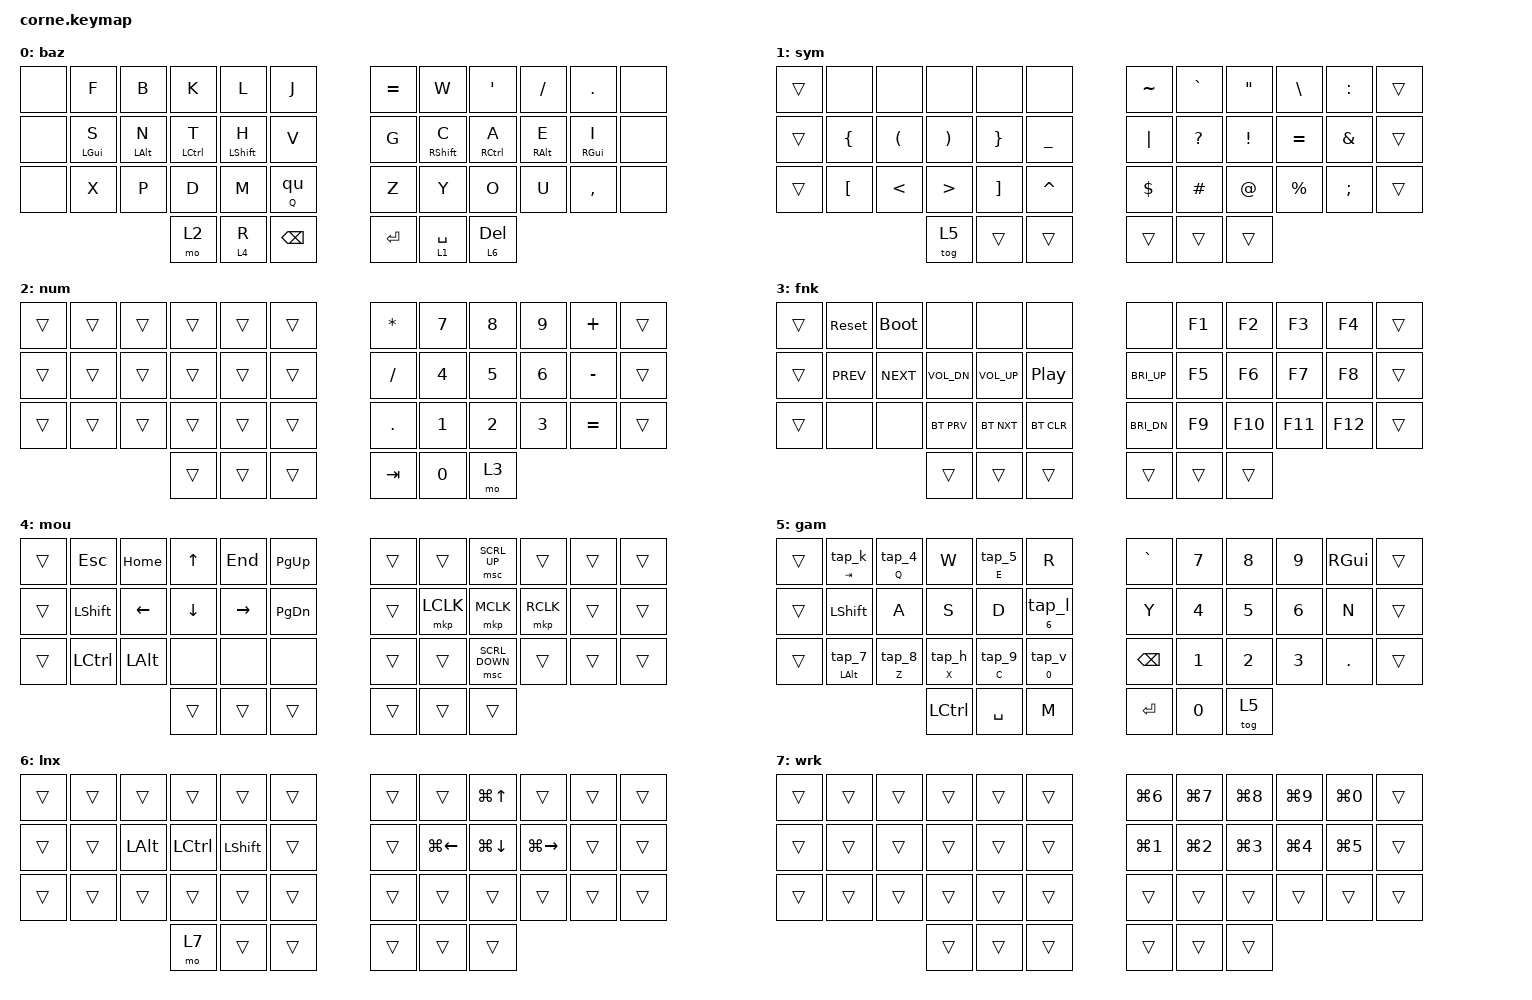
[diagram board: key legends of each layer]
/*
 * SnthX - Chocofi 3x5 Split Keyboard
 * derived from https://www.reddit.com/r/KeyboardLayouts/comments/18jefux/snth/
 */

#include <behaviors.dtsi>
#include <dt-bindings/zmk/bt.h>
#include <dt-bindings/zmk/keys.h>
#include <dt-bindings/zmk/pointing.h>

&sl { release-after-ms = <125>; };

/ {
    combos {
        compatible = "zmk,combos";

        // Global defaults

        timeout-ms = <50>;
        require-prior-idle-ms = <100>;

        tab {
            bindings = <&kp TAB>;
            key-positions = <13 14>;
            layers = <0>;
            slow-release;
            timeout-ms = <75>;
            require-prior-idle-ms = <125>;
        };

        esc {
            bindings = <&kp ESC>;
            key-positions = <13 16>;
            layers = <0>;
        };

        capsw {
            bindings = <&caps_word>;
            key-positions = <16 19>;
            layers = <0>;
            timeout-ms = <30>;
        };

        ing {
            bindings = <&ing>;
            key-positions = <22 21>;
            layers = <0>;
            slow-release;
            timeout-ms = <75>;
            require-prior-idle-ms = <125>;
        };

        the {
            bindings = <&the>;
            key-positions = <15 16>;
            layers = <0>;
            slow-release;
            timeout-ms = <75>;
            require-prior-idle-ms = <125>;
        };

        then {
            bindings = <&then>;
            key-positions = <14 16 15>;
            layers = <0>;
            slow-release;
            timeout-ms = <75>;
            require-prior-idle-ms = <125>;
        };

        else {
            bindings = <&else>;
            key-positions = <21 20 19>;
            layers = <0>;
            slow-release;
            timeout-ms = <75>;
            require-prior-idle-ms = <125>;
        };

        and {
            bindings = <&and>;
            key-positions = <19 20>;
            layers = <0>;
            slow-release;
            timeout-ms = <75>;
            require-prior-idle-ms = <125>;
        };

        game_esc {
            bindings = <&kp ESC>;
            key-positions = <1 2>;
            layers = <5>;
        };
    };

    macros {
        qu: qu {
            compatible = "zmk,behavior-macro";
            #binding-cells = <0>;
            bindings = <&kp Q &kp U>;
            label = "QU";
            tap-ms = <30>;
        };

        the: the {
            compatible = "zmk,behavior-macro";
            #binding-cells = <0>;
            bindings = <&kp T &kp H &kp E &kp SPACE>;
            label = "THE";
            tap-ms = <30>;
        };

        then: then {
            compatible = "zmk,behavior-macro";
            #binding-cells = <0>;
            bindings = <&kp T &kp H &kp E &kp N &kp SPACE>;
            label = "THEN";
            tap-ms = <30>;
        };

        else: else {
            compatible = "zmk,behavior-macro";
            #binding-cells = <0>;
            bindings = <&kp E &kp L &kp S &kp E &kp SPACE>;
            label = "ELSE";
        };

        and: and {
            compatible = "zmk,behavior-macro";
            #binding-cells = <0>;
            bindings = <&kp A &kp N &kp D &kp SPACE>;
            label = "AND";
            tap-ms = <30>;
        };

        ing: ing {
            compatible = "zmk,behavior-macro";
            #binding-cells = <0>;
            bindings = <&kp I &kp N &kp G>;
            label = "ING";
        };

        hold_r: hold_e {
            compatible = "zmk,behavior-macro";
            #binding-cells = <0>;
            bindings = <&kp R>;
            label = "HOLD_E";
            tap-ms = <10>;
            wait-ms = <0>;
        };

        hold_b: hold_b {
            compatible = "zmk,behavior-macro";
            #binding-cells = <0>;
            bindings = <&kp B>;
            label = "HOLD_B";
            tap-ms = <10>;
            wait-ms = <0>;
        };

        tap_5: tap_5 {
            compatible = "zmk,behavior-macro";
            #binding-cells = <0>;
            bindings = <&kp N5>;
            label = "TAP_5";
            tap-ms = <30>;
            wait-ms = <0>;
        };

        tap_k: tap_3 {
            compatible = "zmk,behavior-macro";
            #binding-cells = <0>;
            bindings = <&kp K>;
            label = "TAP_3";
            tap-ms = <30>;
            wait-ms = <0>;
        };

        tap_7: tap_7 {
            compatible = "zmk,behavior-macro";
            #binding-cells = <0>;
            bindings = <&kp N7>;
            label = "TAP_7";
            tap-ms = <30>;
            wait-ms = <0>;
        };

        tap_v: tap_0 {
            compatible = "zmk,behavior-macro";
            #binding-cells = <0>;
            bindings = <&kp V>;
            label = "TAP_0";
            tap-ms = <30>;
            wait-ms = <0>;
        };

        tap_r: tap_r {
            compatible = "zmk,behavior-macro";
            #binding-cells = <0>;
            bindings = <&kp R>;
            label = "TAP_R";
        };

        tap_4: tap_4 {
            compatible = "zmk,behavior-macro";
            #binding-cells = <0>;
            bindings = <&kp N4>;
            label = "TAP_4";
            tap-ms = <30>;
            wait-ms = <0>;
        };

        tap_8: tap_8 {
            compatible = "zmk,behavior-macro";
            #binding-cells = <0>;
            bindings = <&kp N8>;
            label = "TAP_8";
            tap-ms = <30>;
            wait-ms = <0>;
        };

        tap_9: tap_9 {
            compatible = "zmk,behavior-macro";
            #binding-cells = <0>;
            bindings = <&kp N9>;
            label = "TAP_9";
            tap-ms = <30>;
            wait-ms = <0>;
        };

        tap_x: tap_x {
            compatible = "zmk,behavior-macro";
            #binding-cells = <0>;
            bindings = <&kp X>;
            label = "TAP_X";
            tap-ms = <30>;
            wait-ms = <0>;
        };

        tap_tab: tap_tab {
            compatible = "zmk,behavior-macro";
            #binding-cells = <0>;
            bindings = <&kp TAB>;
            label = "TAP_TAB";
            tap-ms = <30>;
            wait-ms = <0>;
        };

        tap_e: tap_e {
            compatible = "zmk,behavior-macro";
            #binding-cells = <0>;
            bindings = <&kp E>;
            label = "TAP_E";
            tap-ms = <30>;
            wait-ms = <0>;
        };

        tap_q: tap_q {
            compatible = "zmk,behavior-macro";
            #binding-cells = <0>;
            bindings = <&kp Q>;
            label = "TAP_Q";
            tap-ms = <30>;
            wait-ms = <0>;
        };

        tap_i: tap_i {
            compatible = "zmk,behavior-macro";
            #binding-cells = <0>;
            bindings = <&kp I>;
            label = "TAP_I";
            tap-ms = <30>;
            wait-ms = <0>;
        };

        tap_m: tap_m {
            compatible = "zmk,behavior-macro";
            #binding-cells = <0>;
            bindings = <&kp M>;
            label = "TAP_M";
            tap-ms = <30>;
            wait-ms = <0>;
        };

        caps: caps {
            compatible = "zmk,behavior-macro";
            #binding-cells = <0>;
            bindings = <&kp CAPS>;
            label = "CAPS";
            tap-ms = <30>;
            wait-ms = <0>;
        };

        tap_c: tap_c {
            compatible = "zmk,behavior-macro";
            #binding-cells = <0>;
            bindings = <&kp C>;
            label = "TAP_C";
            tap-ms = <30>;
            wait-ms = <0>;
        };

        tap_z: tap_z {
            compatible = "zmk,behavior-macro";
            #binding-cells = <0>;
            bindings = <&kp Z>;
            label = "TAP_Z";
            tap-ms = <30>;
            wait-ms = <0>;
        };

        tap_l: tap_l {
            compatible = "zmk,behavior-macro";
            #binding-cells = <0>;
            bindings = <&kp L>;
            label = "TAP_L";
            tap-ms = <30>;
            wait-ms = <0>;
        };

        tap_h: tap_u {
            compatible = "zmk,behavior-macro";
            #binding-cells = <0>;
            bindings = <&kp H>;
            label = "TAP_U";
            tap-ms = <30>;
            wait-ms = <0>;
        };

        tap_b: tap_b {
            compatible = "zmk,behavior-macro";
            #binding-cells = <0>;
            bindings = <&kp B>;
            label = "TAP_B";
            tap-ms = <30>;
            wait-ms = <0>;
        };
    };

    behaviors {
        // Optimized mod-tap for home row

        hm: homerow_mods {
            compatible = "zmk,behavior-hold-tap";
            label = "HOMEROW_MODS";
            #binding-cells = <2>;
            tapping-term-ms = <280>;
            quick-tap-ms = <250>;
            flavor = "balanced";
            bindings = <&kp>, <&kp>;

            require-prior-idle-ms = <150>;
        };

        // Q with QU quick tap (outputs QU quickly, hold for just Q)

        lingerq: lingerq {
            compatible = "zmk,behavior-hold-tap";
            label = "LINGERQ";
            bindings = <&kp>, <&qu>;

            #binding-cells = <2>;
            tapping-term-ms = <100>;
            flavor = "tap-preferred";
        };

        // Optimized hold-tap for backspace/delete

        thmo: thumb_layer {
            compatible = "zmk,behavior-hold-tap";
            label = "thumblayer";
            #binding-cells = <2>;
            tapping-term-ms = <200>;
            quick-tap-ms = <175>;
            flavor = "balanced";
            bindings = <&mo>, <&kp>;

            require-prior-idle-ms = <150>;
        };

        seven_mod: seven_mod {
            compatible = "zmk,behavior-hold-tap";
            label = "SEVEN_MOD";
            bindings = <&kp>, <&tap_7>;

            #binding-cells = <2>;
            tapping-term-ms = <200>;
            flavor = "tap-preferred";
        };

        five_mod: five_mod {
            compatible = "zmk,behavior-hold-tap";
            label = "FIVE_MOD";
            bindings = <&kp>, <&tap_5>;

            #binding-cells = <2>;
            tapping-term-ms = <200>;
            flavor = "tap-preferred";
        };

        four_mod: four_mod {
            compatible = "zmk,behavior-hold-tap";
            label = "FOUR_MOD";
            bindings = <&kp>, <&tap_4>;

            #binding-cells = <2>;
            tapping-term-ms = <200>;
            flavor = "tap-preferred";
        };

        h_mod: h_mod {
            compatible = "zmk,behavior-hold-tap";
            label = "H_MOD";
            bindings = <&kp>, <&tap_h>;

            #binding-cells = <2>;
            tapping-term-ms = <200>;
            flavor = "tap-preferred";
        };

        l_mod: l_mod {
            compatible = "zmk,behavior-hold-tap";
            label = "L_MOD";
            bindings = <&kp>, <&tap_l>;

            #binding-cells = <2>;
            tapping-term-ms = <200>;
            flavor = "tap-preferred";
        };

        v_mod: v_mod {
            compatible = "zmk,behavior-hold-tap";
            label = "V_MOD";
            bindings = <&kp>, <&tap_v>;

            #binding-cells = <2>;
            tapping-term-ms = <200>;
            flavor = "tap-preferred";
        };

        nine_mod: nine_mod {
            compatible = "zmk,behavior-hold-tap";
            label = "NINE_MOD";
            bindings = <&kp>, <&tap_9>;

            #binding-cells = <2>;
            tapping-term-ms = <200>;
            flavor = "tap-preferred";
        };

        eight_mod: eight_mod {
            compatible = "zmk,behavior-hold-tap";
            label = "EIGHT_MOD";
            bindings = <&kp>, <&tap_8>;

            #binding-cells = <2>;
            tapping-term-ms = <200>;
            flavor = "tap-preferred";
        };

        k_mod: k_mod {
            compatible = "zmk,behavior-hold-tap";
            label = "K_MOD";
            bindings = <&kp>, <&tap_k>;

            #binding-cells = <2>;
            tapping-term-ms = <200>;
            flavor = "tap-preferred";
        };
    };

    keymap {
        compatible = "zmk,keymap";

        // BASE LAYER - BAGROK OPTIMIZED

        baz {
            bindings = <
&none  &kp F       &kp B       &kp K        &kp L        &kp J           &kp EQUAL  &kp W          &kp SQT      &kp SLASH   &kp PERIOD  &none
&none  &hm LGUI S  &hm LALT N  &hm LCTRL T  &hm LSHFT H  &kp V           &kp G      &hm RSHFT C    &hm RCTRL A  &hm RALT E  &hm RGUI I  &none
&none  &kp X       &kp P       &kp D        &kp M        &lingerq Q 0    &kp Z      &kp Y          &kp O        &kp U       &kp COMMA   &none
                               &mo 2        &thmo 4 R    &kp BSPC        &kp RET    &thmo 1 SPACE  &thmo 6 DEL
            >;
        };

        sym {
            bindings = <
&trans  &none     &none     &none     &none     &none        &kp TILDE  &kp GRAVE  &kp DQT   &kp BSLH   &kp COLON      &trans
&trans  &kp LBRC  &kp LPAR  &kp RPAR  &kp RBRC  &kp UNDER    &kp PIPE   &kp QMARK  &kp EXCL  &kp EQUAL  &kp AMPS       &trans
&trans  &kp LBKT  &kp LT    &kp GT    &kp RBKT  &kp CARET    &kp DLLR   &kp HASH   &kp AT    &kp PRCNT  &kp SEMICOLON  &trans
                            &tog 5    &trans    &trans       &trans     &trans     &trans
            >;
        };

        num {
            bindings = <
&trans  &trans  &trans  &trans  &trans  &trans    &kp STAR   &kp N7  &kp N8  &kp N9  &kp PLUS   &trans
&trans  &trans  &trans  &trans  &trans  &trans    &kp SLASH  &kp N4  &kp N5  &kp N6  &kp MINUS  &trans
&trans  &trans  &trans  &trans  &trans  &trans    &kp DOT    &kp N1  &kp N2  &kp N3  &kp EQUAL  &trans
                        &trans  &trans  &trans    &kp TAB    &kp N0  &mo 3
            >;
        };

        fnk {
            bindings = <
&trans  &sys_reset  &bootloader  &none         &none         &none         &none         &kp F1  &kp F2   &kp F3   &kp F4   &trans
&trans  &kp C_PREV  &kp C_NEXT   &kp C_VOL_DN  &kp C_VOL_UP  &kp C_PP      &kp C_BRI_UP  &kp F5  &kp F6   &kp F7   &kp F8   &trans
&trans  &none       &none        &bt BT_PRV    &bt BT_NXT    &bt BT_CLR    &kp C_BRI_DN  &kp F9  &kp F10  &kp F11  &kp F12  &trans
                                 &trans        &trans        &trans        &trans        &trans  &trans
            >;
        };

        mou {
            bindings = <
&trans  &kp ESC    &kp HOME  &kp UP    &kp END    &kp PG_UP    &trans  &trans     &msc SCRL_UP    &trans     &trans  &trans
&trans  &kp LSHFT  &kp LEFT  &kp DOWN  &kp RIGHT  &kp PG_DN    &trans  &mkp LCLK  &mkp MCLK       &mkp RCLK  &trans  &trans
&trans  &kp LCTRL  &kp LALT  &none     &none      &none        &trans  &trans     &msc SCRL_DOWN  &trans     &trans  &trans
                             &trans    &trans     &trans       &trans  &trans     &trans
            >;
        };

        gam {
            bindings = <
&trans  &k_mod TAB 0       &four_mod Q 0   &kp W       &five_mod E 0  &kp R          &kp GRAVE  &kp N7  &kp N8  &kp N9  &kp RGUI  &trans
&trans  &kp LSHFT          &kp A           &kp S       &kp D          &l_mod N6 0    &kp Y      &kp N4  &kp N5  &kp N6  &kp N     &trans
&trans  &seven_mod LALT 0  &eight_mod Z 0  &h_mod X 0  &nine_mod C 0  &v_mod N0 0    &kp BSPC   &kp N1  &kp N2  &kp N3  &kp DOT   &trans
                                           &kp LCTRL   &kp SPACE      &kp M          &kp RET    &kp N0  &tog 5
            >;
        };

        lnx {
            bindings = <
&trans  &trans  &trans    &trans     &trans      &trans    &trans  &trans        &kp LG(UP)    &trans         &trans  &trans
&trans  &trans  &kp LALT  &kp LCTRL  &kp LSHIFT  &trans    &trans  &kp LG(LEFT)  &kp LG(DOWN)  &kp LG(RIGHT)  &trans  &trans
&trans  &trans  &trans    &trans     &trans      &trans    &trans  &trans        &trans        &trans         &trans  &trans
                          &mo 7      &trans      &trans    &trans  &trans        &trans
            >;
        };

        wrk {
            bindings = <
&trans  &trans  &trans  &trans  &trans  &trans    &kp LG(N6)  &kp LG(N7)  &kp LG(N8)  &kp LG(N9)  &kp LG(N0)  &trans
&trans  &trans  &trans  &trans  &trans  &trans    &kp LG(N1)  &kp LG(N2)  &kp LG(N3)  &kp LG(N4)  &kp LG(N5)  &trans
&trans  &trans  &trans  &trans  &trans  &trans    &trans      &trans      &trans      &trans      &trans      &trans
                        &trans  &trans  &trans    &trans      &trans      &trans
            >;
        };
    };
};
